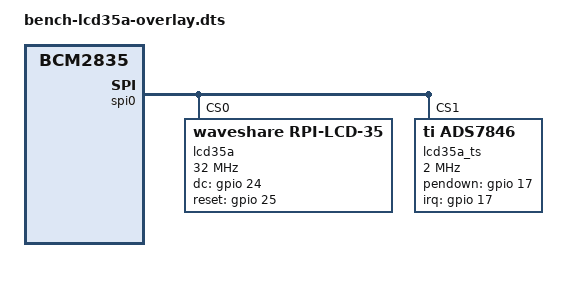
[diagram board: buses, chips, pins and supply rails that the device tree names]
// Project 7: the Waveshare 3.5 inch RPi LCD (A) on SPI0.
//
// Two slaves on one bus. The panel is an ILI9486 behind a shift-register
// bridge on CE0; the touch controller is an XPT2046, register compatible
// with the TI ADS7846, on CE1 with a pen-down interrupt on GPIO17.
//
// Wiring, and the reason each GPIO is the one it is, is in
// projects/07-lcd35-drm/docs/DESIGN.md. Header pins, for reading against
// the board: 18 is GPIO24, 22 is GPIO25, 11 is GPIO17.
//
// SPDX-License-Identifier: MIT

/dts-v1/;
/plugin/;

/ {
    compatible = "brcm,bcm2835";

    // The bus itself. dtparam=spi=on in config.txt does the same thing;
    // saying it here as well means the overlay is correct on a board
    // whose config.txt somebody has edited.
    fragment@0 {
        target = <&spi0>;
        __overlay__ {
            status = "okay";
        };
    };

    // Both spidev nodes off, and this is the fragment most likely to be
    // left out by someone adapting this file.
    //
    // Leaving them enabled produces a bus conflict at probe: the panel
    // node never binds and the only thing dmesg says is that chip select
    // 0 is already in use, which does not sound like what it is.
    fragment@1 {
        target = <&spidev0>;
        __overlay__ {
            status = "disabled";
        };
    };

    fragment@2 {
        target = <&spidev1>;
        __overlay__ {
            status = "disabled";
        };
    };

    // The three GPIOs that are not part of the SPI bus. PENIRQ needs the
    // pull-up because it is an open line between interrupts; the panel
    // board has one too, and both is correct rather than redundant.
    fragment@3 {
        target = <&gpio>;
        __overlay__ {
            lcd35a_pins: lcd35a_pins {
                brcm,pins = <17 24 25>;
                brcm,function = <0 1 1>;    /* in, out, out */
                brcm,pull = <2 0 0>;        /* pull-up on PENIRQ */
            };
        };
    };

    fragment@4 {
        target = <&spi0>;
        __overlay__ {
            #address-cells = <1>;
            #size-cells = <0>;

            lcd35a: lcd35a@0 {
                // The first string is what the driver matches on. It is
                // in ili9486_of_match in drivers/gpu/drm/tiny/ili9486.c,
                // which is the whole reason this panel needs no vendor
                // driver.
                compatible = "waveshare,rpi-lcd-35", "ilitek,ili9486";
                reg = <0>;
                pinctrl-names = "default";
                pinctrl-0 = <&lcd35a_pins>;

                // 32 MHz is for a panel plugged straight onto the header.
                // Jumper wires do not carry it cleanly and the symptom is
                // a partially drawn or shifted picture rather than an
                // error. Use the speed override below to drop to 16 MHz.
                spi-max-frequency = <32000000>;

                dc-gpios = <&gpio 24 0>;

                // Flag 0, active high, as in the binding example. The
                // driver drives the line low itself during
                // mipi_dbi_hw_reset; the line is active low in hardware
                // and that is the driver's business, not the tree's.
                reset-gpios = <&gpio 25 0>;

                rotation = <90>;
            };

            lcd35a_ts: lcd35a_ts@1 {
                compatible = "ti,ads7846";
                reg = <1>;
                spi-max-frequency = <2000000>;

                interrupt-parent = <&gpio>;
                interrupts = <17 2>;            /* falling edge */
                pendown-gpio = <&gpio 17 0>;

                // The /bits/ 16 prefix is load bearing on every line it
                // appears on. The ads7846 binding declares these as
                // 16-bit cells and the driver reads them with
                // device_property_read_u16. Without the prefix they are
                // 32-bit cells and the driver reads the wrong half of
                // each one, which gives a touchscreen that reports
                // nonsense rather than one that fails to probe.
                ti,x-plate-ohms = /bits/ 16 <60>;
                ti,pressure-max = /bits/ 16 <255>;
                ti,x-min = /bits/ 16 <200>;
                ti,x-max = /bits/ 16 <3900>;
                ti,y-min = /bits/ 16 <200>;
                ti,y-max = /bits/ 16 <3900>;

                // Chosen for rotation = <90> above. Rotation in the panel
                // driver does not rotate touch coordinates, so these two
                // properties and the calibration matrix must all be
                // chosen for the same rotation. If X grows while a finger
                // moves along the short edge, this is the wrong way round
                // and the swapxy override below flips it without an edit.
                ti,swap-xy;

                ti,keep-vref-on;
            };
        };
    };

    // Configuration that legitimately varies, exposed so that config.txt
    // carries parameters and not a second copy of this overlay.
    //
    //   dtoverlay=bench-lcd35a,speed=16000000
    //   dtoverlay=bench-lcd35a,rotate=270
    //   dtoverlay=bench-lcd35a,swapxy=0
    __overrides__ {
        speed  = <&lcd35a>, "spi-max-frequency:0";
        rotate = <&lcd35a>, "rotation:0";
        swapxy = <&lcd35a_ts>, "ti,swap-xy?";
    };
};
